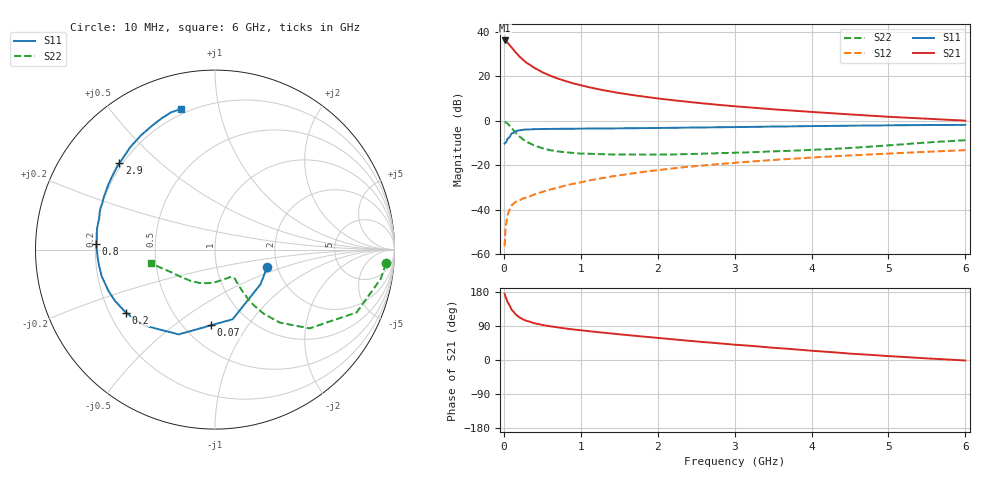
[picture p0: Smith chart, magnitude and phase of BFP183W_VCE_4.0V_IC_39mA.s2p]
! (c) 2017  Infineon Technologies AG, Munich
! Infineon Technologies  Discrete & RF Semiconductors
! BFP183W
! VCE =  4.0 V,  IC =  39 mA
! Common Emitter S-Parameters:  Jan 2017
# GHz  S  MA  R  50
!  f  S11  S21  S12  S22
! GHz  MAG  ANG  MAG  ANG  MAG  ANG  MAG  ANG
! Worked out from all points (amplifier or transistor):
!   77 points, 10 MHz to 6 GHz, reference 50 ohm
!   highest |S21| = 36.2 dB at 10 MHz (marker M1)
!   |S21| within 3 dB of that: start of sweep to 97.36 MHz
!   unconditionally stable (mu >= 1): 762.8 MHz to 3.361 GHz
!   at 130 MHz: K = 0.37, MSG = 34.5 dB, |S12| = -37.2 dB
!   at 2.2 GHz: K = 1.06, MAG = 13.8 dB, |S12| = -21.4 dB
!   at 6 GHz: K = 0.86, MSG = 6.6 dB, |S12| = -13.2 dB
!   S11 on the Smith chart (normalised r, x): 10 MHz: 1.78, -0.37; 70 MHz: 0.67, -0.69; 200 MHz: 0.27, -0.30; 800 MHz: 0.20, +0.02; 2.9 GHz: 0.19, +0.37; 6 GHz: 0.17, +0.78
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0.01  0.3068 -17.9  64.38 174.7  0.0015 86.2  0.9555 -4.6
0.02  0.3187 -37.3  63.32 168.3  0.0033 86.8  0.9383 -9.9
0.05  0.4004 -75.8  57.4 152.6  0.0077 65.4  0.8634 -23.9
0.07  0.4225 -93.0  51.78 145.9  0.0095 61.1  0.7855 -29.4
0.1  0.5141 -113.2  45.07 133.1  0.0123 57.0  0.6858 -39.8
0.15  0.5777 -132.9  35.3 121.0  0.0148 51.3  0.5439 -48.4
0.2  0.6079 -144.6  28.37 112.8  0.016 50.7  0.4486 -52.8
0.25  0.6262 -152.8  23.54 107.1  0.0179 49.2  0.3813 -55.0
0.3  0.6364 -158.7  20 103.0  0.0186 50.7  0.334 -56.2
0.4  0.6481 -166.5  15.38 96.8  0.022 52.7  0.2748 -56.7
0.5  0.6521 -172.0  12.4 92.5  0.025 56.2  0.2408 -56.4
0.6  0.6554 -176.2  10.42 89.0  0.0283 57.5  0.2183 -56.2
0.7  0.658 -179.4  8.948 86.1  0.031 60.4  0.2039 -55.8
0.8  0.662 177.3  7.859 83.2  0.0349 62.4  0.1959 -56.0
1.1  0.6676 169.9  5.739 76.3  0.0451 63.7  0.1811 -57.9
1.5  0.676 161.8  4.221 67.9  0.0591 64.8  0.1741 -63.4
2.1  0.6913 150.7  3.043 56.5  0.0809 63.7  0.174 -76.7
2.9  0.7179 137.9  2.198 42.2  0.1095 59.5  0.1885 -99.0
3.1  0.7236 135.0  2.057 39.0  0.1167 58.3  0.193 -104.5
4.1  0.7616 121.5  1.543 23.0  0.1518 52.2  0.2248 -131.2
5.1  0.7921 111.1  1.206 9.2  0.186 45.4  0.2876 -155.7
6  0.8073 103.4  1.007 -1.4  0.2179 39.0  0.3648 -168.3
